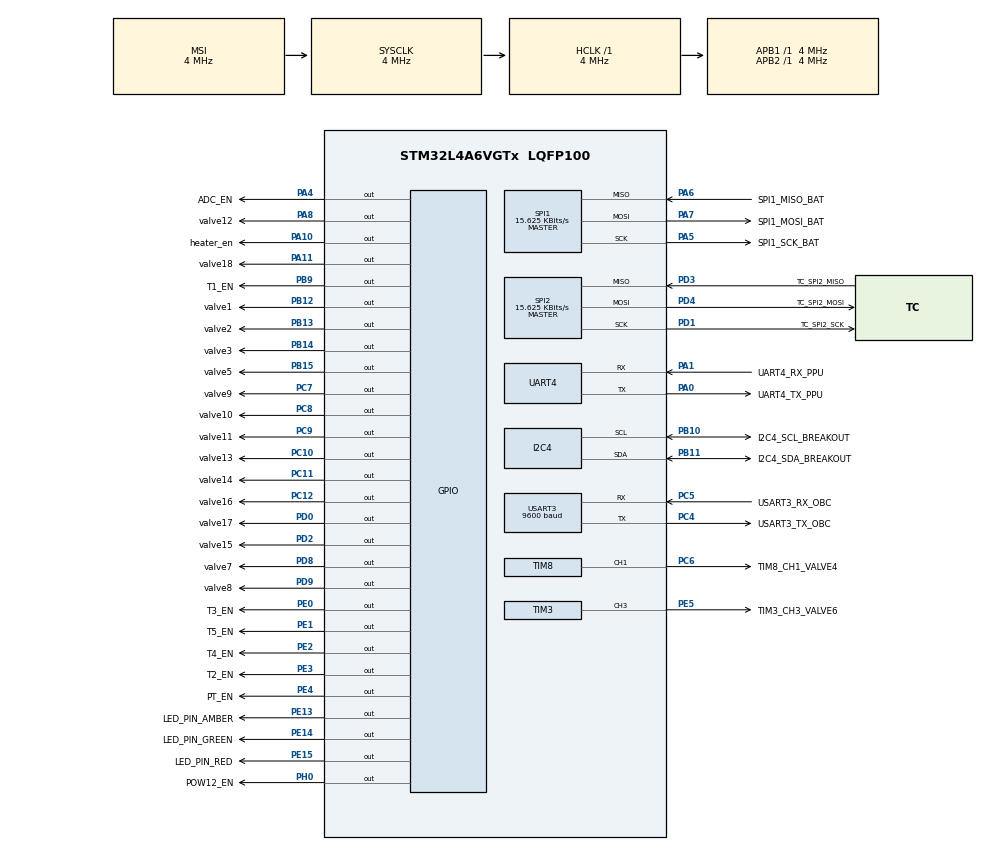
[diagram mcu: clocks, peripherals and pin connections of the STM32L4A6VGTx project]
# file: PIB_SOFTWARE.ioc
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I2C4.I2C_Fall_Time=100
I2C4.I2C_Rise_Time=100
I2C4.Speed=70
I2C4.Timing=0x00100D25
Mcu.Family=STM32L4
Mcu.Name=STM32L4A6VGTx
Mcu.Package=LQFP100
NVIC.PriorityGroup=NVIC_PRIORITYGROUP_4
NVIC.USART3_IRQn=true\:0\:0\:false\:false\:true\:true\:true\:true
PA0.GPIO_Label=UART4_TX_PPU
PA0.Mode=Asynchronous
PA0.Signal=UART4_TX
PA1.GPIO_Label=UART4_RX_PPU
PA1.Mode=Asynchronous
PA1.Signal=UART4_RX
PA10.GPIO_Label=heater_en
PA10.Signal=GPIO_Output
PA11.GPIO_Label=valve18
PA11.Signal=GPIO_Output
PA13\ (JTMS/SWDIO).Mode=Trace_Asynchronous_SW
PA13\ (JTMS/SWDIO).Signal=SYS_JTMS-SWDIO
PA14\ (JTCK/SWCLK).Mode=Trace_Asynchronous_SW
PA14\ (JTCK/SWCLK).Signal=SYS_JTCK-SWCLK
PA4.GPIO_Label=ADC_EN
PA4.Signal=GPIO_Output
PA5.GPIO_Label=SPI1_SCK_BAT
PA5.Mode=Full_Duplex_Master
PA5.Signal=SPI1_SCK
PA6.GPIO_Label=SPI1_MISO_BAT
PA6.Mode=Full_Duplex_Master
PA6.Signal=SPI1_MISO
PA7.GPIO_Label=SPI1_MOSI_BAT
PA7.Mode=Full_Duplex_Master
PA7.Signal=SPI1_MOSI
PA8.GPIO_Label=valve12
PA8.Signal=GPIO_Output
PB10.GPIO_Label=I2C4_SCL_BREAKOUT
PB10.Mode=I2C
PB10.Signal=I2C4_SCL
PB11.GPIO_Label=I2C4_SDA_BREAKOUT
PB11.Mode=I2C
PB11.Signal=I2C4_SDA
PB12.GPIO_Label=valve1
PB12.Signal=GPIO_Output
PB13.GPIO_Label=valve2
PB13.Signal=GPIO_Output
PB14.GPIO_Label=valve3
PB14.Signal=GPIO_Output
PB15.GPIO_Label=valve5
PB15.Signal=GPIO_Output
PB3\ (JTDO/TRACESWO).Mode=Trace_Asynchronous_SW
PB3\ (JTDO/TRACESWO).Signal=SYS_JTDO-SWO
PB9.GPIO_Label=T1_EN
PB9.Signal=GPIO_Output
PC10.GPIO_Label=valve13
PC10.Signal=GPIO_Output
PC11.GPIO_Label=valve14
PC11.Signal=GPIO_Output
PC12.GPIO_Label=valve16
PC12.Signal=GPIO_Output
PC4.GPIO_Label=USART3_TX_OBC
PC4.Mode=Asynchronous
PC4.Signal=USART3_TX
PC5.GPIO_Label=USART3_RX_OBC
PC5.Mode=Asynchronous
PC5.Signal=USART3_RX
PC6.GPIO_Label=TIM8_CH1_VALVE4
PC6.Signal=S_TIM8_CH1
PC7.GPIO_Label=valve9
PC7.Signal=GPIO_Output
PC8.GPIO_Label=valve10
PC8.Signal=GPIO_Output
PC9.GPIO_Label=valve11
PC9.Signal=GPIO_Output
PD0.GPIO_Label=valve17
PD0.Signal=GPIO_Output
PD1.GPIO_Label=TC_SPI2_SCK
PD1.Mode=Full_Duplex_Master
PD1.Signal=SPI2_SCK
PD2.GPIO_Label=valve15
PD2.Signal=GPIO_Output
PD3.GPIO_Label=TC_SPI2_MISO
PD3.Mode=Full_Duplex_Master
PD3.Signal=SPI2_MISO
PD4.GPIO_Label=TC_SPI2_MOSI
PD4.Mode=Full_Duplex_Master
PD4.Signal=SPI2_MOSI
PD8.GPIO_Label=valve7
PD8.Signal=GPIO_Output
PD9.GPIO_Label=valve8
PD9.Signal=GPIO_Output
PE0.GPIO_Label=T3_EN
PE0.Signal=GPIO_Output
PE1.GPIO_Label=T5_EN
PE1.Signal=GPIO_Output
PE13.GPIO_Label=LED_PIN_AMBER
PE13.Signal=GPIO_Output
PE14.GPIO_Label=LED_PIN_GREEN
PE14.Signal=GPIO_Output
PE15.GPIO_Label=LED_PIN_RED
PE15.Signal=GPIO_Output
PE2.GPIO_Label=T4_EN
PE2.Signal=GPIO_Output
PE3.GPIO_Label=T2_EN
PE3.Signal=GPIO_Output
PE4.GPIO_Label=PT_EN
PE4.Signal=GPIO_Output
PE5.GPIO_Label=TIM3_CH3_VALVE6
PE5.Signal=S_TIM3_CH3
PH0-OSC_IN\ (PH0).GPIO_Label=POW12_EN
PH0-OSC_IN\ (PH0).Signal=GPIO_Output
ProjectManager.HeapSize=0x200
ProjectManager.StackSize=0x400
ProjectManager.TargetToolchain=STM32CubeIDE
RCC.AHBFreq_Value=4000000
RCC.APB1Freq_Value=4000000
RCC.APB1TimFreq_Value=4000000
RCC.APB2Freq_Value=4000000
RCC.APB2TimFreq_Value=4000000
RCC.CortexFreq_Value=4000000
RCC.HCLKFreq_Value=4000000
RCC.HSE_VALUE=8000000
RCC.HSI48_VALUE=48000000
RCC.HSI_VALUE=16000000
RCC.LSE_VALUE=32768
RCC.MSI_VALUE=4000000
RCC.SYSCLKFreq_VALUE=4000000
RCC.VCOOutputFreq_Value=32000000
SH.S_TIM3_CH3.0=TIM3_CH3,PWM Generation3 CH3
SH.S_TIM8_CH1.0=TIM8_CH1,PWM Generation1 CH1
SPI1.BaudRatePrescaler=SPI_BAUDRATEPRESCALER_256
SPI1.CLKPhase=SPI_PHASE_2EDGE
SPI1.CLKPolarity=SPI_POLARITY_HIGH
SPI1.CalculateBaudRate=15.625 KBits/s
SPI1.DataSize=SPI_DATASIZE_8BIT
SPI1.Direction=SPI_DIRECTION_2LINES
SPI1.Mode=SPI_MODE_MASTER
SPI1.VirtualType=VM_MASTER
SPI2.BaudRatePrescaler=SPI_BAUDRATEPRESCALER_256
SPI2.CLKPhase=SPI_PHASE_2EDGE
SPI2.CLKPolarity=SPI_POLARITY_HIGH
SPI2.CalculateBaudRate=15.625 KBits/s
SPI2.DataSize=SPI_DATASIZE_8BIT
SPI2.Direction=SPI_DIRECTION_2LINES
SPI2.Mode=SPI_MODE_MASTER
SPI2.VirtualType=VM_MASTER
TIM3.Channel-PWM\ Generation3\ CH3=TIM_CHANNEL_3
TIM3.Period=400-1
TIM3.Prescaler=4-1
TIM8.AutoReloadPreload=TIM_AUTORELOAD_PRELOAD_ENABLE
TIM8.Channel-PWM\ Generation1\ CH1=TIM_CHANNEL_1
USART3.BaudRate=9600
USART3.VirtualMode-Asynchronous=VM_ASYNC
VP_TIM3_VS_ClockSourceINT.Mode=Internal
VP_TIM8_VS_ClockSourceINT.Mode=Internal
board=custom

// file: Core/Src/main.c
/* USER CODE BEGIN Header */
/**
  ******************************************************************************
  * @file           : main.c
  * @brief          : Main program body
  ******************************************************************************
  * @attention
  *
  * Copyright (c) 2026 STMicroelectronics.
  * All rights reserved.
  *
  * This software is licensed under terms that can be found in the LICENSE file
  * in the root directory of this software component.
  * If no LICENSE file comes with this software, it is provided AS-IS.
  *
  ******************************************************************************
  */
/* USER CODE END Header */
#include "main.h"
#include "i2c.h"
#include "spi.h"
#include "tim.h"
#include "usart.h"
#include "gpio.h"

/* USER CODE BEGIN Includes */

#include "gpio_driver.h"
#include "uart_handler.h"
#include "uart_protocol.h"

// ---------------- DEFINES ---------------------

//#define AD7124
//#define AD7124_P
//#define AD7124_V
//#define AD7124_SINGLE_MODE
//#define AD7124_CONTINOUS_MODE
#define FDC2214_S
//#define MAX31856
//#define MAX31856_T1
//#define MAX31856_T2
//#define MAX31856_T3
//#define MAX31856_T4
//#define MAX31856_T5
//#define B2B_ARDUINO
//#define VALVE_TEST
//#define I2C_SCANNER
//#define HEATER
//#define PWM_VALVE_6

//#define ADXL355
//#define AD7176

// ----------------- HARDWARE TESTS -----------------------

#ifdef AD7124

// Sensor Includes

#include "ad7124_console_app.h"
#include "ad7124.h"

#endif

#ifdef MAX31856

#include "max31856.h"

#endif

#ifdef FDC2214_S

#include "fdc2214.h"

#endif

#ifdef AD7177
// Sensor Includes
#include "ad7177.h"
#endif

// Serial Interface For Debugging || Serial wire JTAG debug port (SWJ-DP)
#include <stdio.h>

/* USER CODE END Includes */

/* USER CODE BEGIN PV */

uint8_t rx_cmd[1]; // single byte for all UART commands.
uint8_t tx_cmd[1];
char uart_buffer[64];
float value;
float value2;

/* USER CODE END PV */

void SystemClock_Config(void);

/* USER CODE BEGIN 0 */

// struct max31856_t *max31856;

/* USER CODE END 0 */

int main(void)
{

  /* MCU Configuration--------------------------------------------------------*/

  /* Reset of all peripherals, Initializes the Flash interface and the Systick. */
	HAL_Init();

  /* USER CODE BEGIN Init */

  // Device ID's

//   uint32_t device_id;

#ifdef B2B_ARDUINO
   // UART Inits
//   uint8_t rx_cmd[1]; // single byte for all UART commands.
//   uint8_t TX_Buffer[] = "Hello, World!\r\n";
   // "\r" move cursor to start of line
   // "\n" new line

#endif

  /* USER CODE END Init */

  /* Configure the system clock */
  SystemClock_Config();

  /* USER CODE BEGIN SysInit */

//  GPIO_Driver_Init(&LED_BLINK);

  /* USER CODE END SysInit */

  /* Initialize all configured peripherals */
  MX_GPIO_Init();
  MX_I2C4_Init();
  MX_SPI1_Init();
  MX_SPI2_Init();
  MX_UART4_Init();
  MX_USART3_UART_Init();
  MX_TIM8_Init();
  MX_TIM3_Init();
  /* USER CODE BEGIN 2 */

//  HAL_GPIO_WritePin(LED_PIN_RED_GPIO_Port, LED_PIN_RED_Pin, GPIO_PIN_SET);

  // blocking no work
//  HAL_UART_Receive(&huart3, rx_cmd, 1,0xFFFF);
//  HAL_UART_Transmit(&huart3, rx_cmd, 1, 0xFFFF);

  // start receiving UART commands.

  HAL_UART_Receive_IT(&huart3, rx_cmd, 1);

// DEACTIVATE ALL SPI2 ICs

// (NOT CS) So if a pin is pulled low the chip will be selected.

  // SPI 2 BUS
  HAL_GPIO_WritePin(T1_EN_GPIO_Port, T1_EN_Pin, GPIO_PIN_SET);
  HAL_GPIO_WritePin(T2_EN_GPIO_Port, T2_EN_Pin, GPIO_PIN_SET);
  HAL_GPIO_WritePin(T3_EN_GPIO_Port, T3_EN_Pin, GPIO_PIN_SET);
  HAL_GPIO_WritePin(T4_EN_GPIO_Port, T4_EN_Pin, GPIO_PIN_SET);
  HAL_GPIO_WritePin(T5_EN_GPIO_Port, T5_EN_Pin, GPIO_PIN_SET);
  HAL_GPIO_WritePin(PT_EN_GPIO_Port, PT_EN_Pin, GPIO_PIN_SET);

  // SPI 1 BUS

  HAL_GPIO_WritePin(ADC_EN_GPIO_Port, ADC_EN_Pin, GPIO_PIN_SET);

  HAL_GPIO_WritePin(POW12_EN_GPIO_Port, POW12_EN_Pin, GPIO_PIN_SET);

// External driver structures and buffers

// ADC7124 || PT Readings Init

#ifdef AD7124

/* Initialize the AD7124 application before the main loop */

  // this setup will be for POWER
  // added param for cs -> CS = 0 = AD7124 VOLTAGE      |
  				//       CS = 1 = AD7124 PRESSURE   | for measuring

  int32_t setupResult;
  uint32_t device_id;

  // setup pressure ADC

#ifdef AD7124_P

  if ((setupResult = ad7124_app_initialize(AD7124_CONFIG_A,PRESSURE)) < 0) {
		// Handle error setting up AD7124 here
	  printf("Failed to init ad7124 pressure \n");
	  HAL_GPIO_WritePin(LED_PIN_RED_GPIO_Port, LED_PIN_RED_Pin, GPIO_PIN_SET);
  }
  printf("Setup Pressure Result: %ld", setupResult);
//  HAL_GPIO_WritePin(LED_PIN_RED_GPIO_Port, LED_PIN_RED_Pin, GPIO_PIN_SET);

#endif

#ifdef AD7124_V

  if ((setupResult = ad7124_app_initialize(AD7124_CONFIG_A,VOLTAGE)) < 0) {
		// Handle error setting up AD7124 here
	  printf("Failed to init ad7124 voltage \n");
	  HAL_GPIO_WritePin(LED_PIN_RED_GPIO_Port, LED_PIN_RED_Pin, GPIO_PIN_SET);

  }

  printf("Setup voltage Result: %ld", setupResult);

#endif

//  float voltage1;
//  float voltage2;
//  uint32_t val;

#endif

#ifdef MAX31856

float temperature;

#endif

// MAX31856 Setup || Temperature Reading K-Type Thermocouples Readings INIT

// T1

#ifdef MAX31856_T1
   	max31856_gpio_t max31856T1PIN = {
   	    .gpio_port = T1_EN_GPIO_Port,
   	    .gpio_pin  = T1_EN_Pin
   	};

   	max31856_t max31856T1 = {
   			.spi_handle = &hspi2,
 			.cs_pin = max31856T1PIN

   	};

   	max31856_init(&max31856T1);

   	max31856_set_noise_filter(&max31856T1, CR0_FILTER_OUT_60Hz); // Noise filter is for filtering out EMI in very long wires
   	max31856_set_cold_junction_enable(&max31856T1, CR0_CJ_ENABLED); // External Sensor which measures the cold junction and references
   	max31856_set_thermocouple_type(&max31856T1, CR1_TC_TYPE_K); // K - type thermocouple
   	max31856_set_average_samples(&max31856T1, CR1_AVG_TC_SAMPLES_2);
   	max31856_set_open_circuit_fault_detection(&max31856T1, CR0_OC_DETECT_ENABLED_TC_LESS_2ms);
   	max31856_set_conversion_mode(&max31856T1, CR0_CJ_DISABLED); // need to disable for single we don't have access to the DRDY pins thus we have to estimate polling time.

#endif

//   	// T2

#ifdef MAX31856_T2

   	max31856_gpio_t max31856T2PIN = {
   			.gpio_port = T2_EN_GPIO_Port,
 			.gpio_pin  = T2_EN_Pin
   	  	};

   	max31856_t max31856T2 = {
   			.spi_handle = &hspi2,
   			.cs_pin = max31856T2PIN
   	};

 	max31856_init(&max31856T2);

   	max31856_set_noise_filter(&max31856T2, CR0_FILTER_OUT_60Hz);
   	max31856_set_cold_junction_enable(&max31856T2, CR0_CJ_ENABLED); // External Sensor which measures the cold junction and references
   	max31856_set_thermocouple_type(&max31856T2, CR1_TC_TYPE_K); // K - type thermocouple
   	max31856_set_average_samples(&max31856T2, CR1_AVG_TC_SAMPLES_2);
   	max31856_set_open_circuit_fault_detection(&max31856T2, CR0_OC_DETECT_ENABLED_TC_LESS_2ms);
   	max31856_set_conversion_mode(&max31856T2, CR0_CONV_CONTINUOUS); // continous mode for testing

   	// T3

#endif

#ifdef MAX31856_T3

   	max31856_gpio_t max31856T3PIN = {
   		.gpio_port = T3_EN_GPIO_Port,
 		.gpio_pin  = T3_EN_Pin
   	};

   	max31856_t max31856T3 = {
   			.spi_handle = &hspi2,
   			.cs_pin = max31856T3PIN
   	};

 	max31856_init(&max31856T3);

   	max31856_set_noise_filter(&max31856T3, CR0_FILTER_OUT_60Hz);
   	max31856_set_cold_junction_enable(&max31856T3, CR0_CJ_ENABLED);
   	max31856_set_thermocouple_type(&max31856T3, CR1_TC_TYPE_K);
   	max31856_set_average_samples(&max31856T3, CR1_AVG_TC_SAMPLES_2);
   	max31856_set_open_circuit_fault_detection(&max31856T3, CR0_OC_DETECT_ENABLED_TC_LESS_2ms);
   	max31856_set_conversion_mode(&max31856T3, CR0_CONV_CONTINUOUS);

#endif

#ifdef MAX31856_T4

   	// T4

   	max31856_gpio_t max31856T4PIN = {
   		.gpio_port = T4_EN_GPIO_Port,
 		.gpio_pin  = T4_EN_Pin
   	};

   	max31856_t max31856T4 = {
   			.spi_handle = &hspi2,
   			.cs_pin = max31856T4PIN
   	};

 	max31856_init(&max31856T4);

   	max31856_set_noise_filter(&max31856T4, CR0_FILTER_OUT_60Hz);
   	max31856_set_cold_junction_enable(&max31856T4, CR0_CJ_ENABLED);
   	max31856_set_thermocouple_type(&max31856T4, CR1_TC_TYPE_K);
   	max31856_set_average_samples(&max31856T4, CR1_AVG_TC_SAMPLES_2);
   	max31856_set_open_circuit_fault_detection(&max31856T4, CR0_OC_DETECT_ENABLED_TC_LESS_2ms);
   	max31856_set_conversion_mode(&max31856T4, CR0_CONV_CONTINUOUS);

#endif

//   	// T5

#ifdef MAX31856_T5

   	max31856_gpio_t max31856T5PIN = {
   		.gpio_port = T5_EN_GPIO_Port,
 		.gpio_pin = T5_EN_Pin
   	};

   	max31856_t max31856T5 = {
   			.spi_handle = &hspi2,
   			.cs_pin = max31856T5PIN
   	};

 	max31856_init(&max31856T5);

   	max31856_set_noise_filter(&max31856T5, CR0_FILTER_OUT_60Hz);
   	max31856_set_cold_junction_enable(&max31856T5, CR0_CJ_ENABLED);
   	max31856_set_thermocouple_type(&max31856T5, CR1_TC_TYPE_K);
   	max31856_set_average_samples(&max31856T5, CR1_AVG_TC_SAMPLES_2);
   	max31856_set_open_circuit_fault_detection(&max31856T5, CR0_OC_DETECT_ENABLED_TC_LESS_2ms);
   	max31856_set_conversion_mode(&max31856T5, CR0_CONV_CONTINUOUS);

#endif

//   	// FDC2214 SETUP

//   	// Reset Registers in Device.

#ifdef FDC2214_S
   	uint8_t ret;

   	ret = FDC2214_Begin();
   	if(ret != 0){
   		printf("Failed to communicate with FDCC2214");
   		reset_fdc2214();
   		printf("Try Again");
   		FDC2214_Begin();
   	}
   	else{
   	   	// set default FDC2214 configurations

   	   	FDC2214_configure_defaults();

   	   	// toggle channel
   	   	FDC2214_set_active_channel(FDC2214_CH0);

//   	   	FDC2214_set_active_channel(FDC2214_CH1);
   	   	FDC2214_setAutoscan(0); // false
   	   	FDC2214_wakeup();

   	}

#endif

#ifdef AD7177
 	AD7177_Handle plumeSensor1;

 	plumeSensor1.hspi = &hspi1;
 	plumeSensor1.cs_port  = PT_EN_GPIO_Port;
 	plumeSensor1.cs_pin   = PT_EN_Pin;

 	plumeSensor1.ain_pos  = AD7177_AIN1;
 	plumeSensor1.ain_neg  = AD7177_AIN0;

 	plumeSensor1.ref_sel = AD7177_REF_INTERNAL;
 	plumeSensor1.bipolar  = 1;
 	plumeSensor1.odr      = AD7177_ODR_1000;
	plumeSensor1.vref = 2.5f;

 	AD7177_Init(&plumeSensor1);

#endif

  /* USER CODE END 2 */

  /* Infinite loop */
  /* USER CODE BEGIN WHILE */
  while (1)
  {

	  HAL_GPIO_TogglePin(LED_PIN_AMBER_GPIO_Port, LED_PIN_AMBER_Pin);

	  HAL_Delay(200);
//
//	  HAL_GPIO_TogglePin(LED_PIN_GREEN_GPIO_Port, LED_PIN_GREEN_Pin);
//	  HAL_Delay(200);
//
//	  HAL_GPIO_TogglePin(LED_PIN_AMBER_GPIO_Port, LED_PIN_AMBER_Pin);
//
//	  printf("HELLO \n");

#ifdef B2B

//	  HAL_UART_Transmit(&huart3,TX_Buffer,sizeof(TX_Buffer),1000); // "Hello World!" // UART Direct Test

#endif

#ifdef VALVE_TEST

	  printf("Actuation of Valve 2 Starting... in 15 seconds \n");

	  HAL_Delay(5000);

	  HAL_Delay(5000);

	  printf("Actuation of Valve 2 Starting... in 10 seconds \n");

	  HAL_Delay(5000);

	  printf("Actuation of Valve 2 Starting... in 5 seconds \n");

	  HAL_Delay(5000);

	  HAL_GPIO_WritePin(valve2_GPIO_Port, valve2_Pin, GPIO_PIN_SET);

	  printf("Valve 2 Actuated \n");

	  HAL_Delay(2000);

	  HAL_GPIO_WritePin(valve2_GPIO_Port, valve2_Pin, GPIO_PIN_RESET);

	  printf("Valve 2 Closed \n");

#endif

#ifdef HEATER

	  printf("Heater starting in 5 seconds");
	  HAL_Delay(5000);

	  HAL_GPIO_WritePin(heater_en_GPIO_Port, heater_en_Pin, GPIO_PIN_SET);

	  printf("Heating for 10 seconds");
	  HAL_Delay(10000);

	  HAL_GPIO_WritePin(heater_en_GPIO_Port, heater_en_Pin, GPIO_PIN_RESET);

#endif

#ifdef AD7124_P

	  // read device id.

	  device_id = ad7124_read_device_id(PRESSURE);

	  printf("AD7124 Device PRESSURE ID: %ld ", device_id);
	  if(device_id == 20 || device_id == 23){ // device id for dataversion E || https://ez.analog.com/data_converters/precision_adcs/f/q-a/574494/ad7124-8-device-id-question

		  printf("|| SUCCESS \n");
		  HAL_GPIO_WritePin(LED_PIN_GREEN_GPIO_Port, LED_PIN_GREEN_Pin, GPIO_PIN_SET);
		  read_status_register(PRESSURE);

#ifdef AD7124_SINGLE_MODE
		  /* Read all enabled channels on ADC in single conversion mode */
//		  menu_single_conversion(PRESSURE);

		  value = display_channel_sample(6, PRESSURE);
		  printf("3V3 Reading: %f", value*4.125); // new way of comuting 3v3.

//		  for(int i =0 ; i<16; i++){
//		 			  value = display_channel_sample(i, PRESSURE);
//		 			  printf("Channel %d: Voltage: %f ",i , value);
//
//		 }

#endif
	  }
	  else{
		  // read error register;
		  read_error_register(PRESSURE);
		  // check status of chip
		  read_status_register(PRESSURE);

//		  HAL_GPIO_WritePin(LED_PIN_RED_GPIO_Port, LED_PIN_RED_Pin, GPIO_PIN_SET);

	  }

#endif

#ifdef AD7124_V

	  device_id = ad7124_read_device_id(VOLTAGE);

	  printf("AD7124 Device VOLTAGE ID: %ld ", device_id);
	  if(device_id == 23 || device_id == 20){ // device id for dataversion F || https://ez.analog.com/data_converters/precision_adcs/f/q-a/574494/ad7124-8-device-id-question

		  printf("|| SUCCESS \n");
		  HAL_GPIO_WritePin(LED_PIN_GREEN_GPIO_Port, LED_PIN_GREEN_Pin, GPIO_PIN_SET);
//		  read_status_register(VOLTAGE);
		  #ifdef AD7124_SINGLE_MODE
		  /* Read all enabled channels on ADC in single conversion mode */

//		  value = display_channel_sample(0, VOLTAGE);
//		  value2 = display_channel_sample(8, VOLTAGE);

//		  printf("3V3 Volt Channel: Voltage: %f " , value);

//		  menu_single_conversion(VOLTAGE);
//
//		  value = display_channel_sample(0, VOLTAGE);
//
////		  printf("12V Reading: %f", (610 / 510)*(12-value));
//
//		  printf("12v Reading: %f", 6*value); // new way of computing.

		  value = display_channel_sample(6, VOLTAGE);
		  printf("3V3 Reading: %f", value*4.125); // new way of comuting 3v3.

//		  printf("3V3 Reading: %f", (412.5/312.5)*(3.3-value));

//
//		  for(int i =0 ; i<16; i++){
//		 			  value = display_channel_sample(i, VOLTAGE);
//		 			  printf("Channel %d: Voltage: %f ",i , value);
//
//		 }

	      #endif
	 }

	 else{
		  // read error register;
		  read_error_register(VOLTAGE);
		  // check status of chip
		  read_status_register(VOLTAGE);

//		  HAL_GPIO_WritePin(LED_PIN_RED_GPIO_Port, LED_PIN_RED_Pin, GPIO_PIN_SET);

	  }

#endif

#ifdef AD7124_CONTINOUS_MODE

		 /* Continously Read all enabled channels on ADC for 10 iterations (change to desire / add functionality for commanding) */

		  // NOT YET CONFIGURED FOR TWO ICS
	    do_continuous_conversion(0);

#endif

#ifdef B2B_ARDUINO
//	  Serial_Print("Transmitting"); // Serial_Print custom function test.
//
//	   Serial_Printf("Temperature Test %d C\r\n", 100); // Serial_Print custom formatted print function

//	   TEST READS...

//	   Serial_Print("Test IC Reads"); // Serial_Print custom function test.

//	   For Repo Branch...

//	   polling method -> Blocks CPU until UART receive is done.
 	  // uart receive block will continously try to fetch.
 		  // Polling for Seperate Pressure Sensors.

//	  HAL_GPIO_TogglePin(LED_PIN_RED_GPIO_Port, LED_PIN_RED_Pin);
//	  HAL_Delay(500);
//
//
//	if(*rx_cmd == CMD_TOGGLE_LED_RED){
//		  HAL_GPIO_TogglePin(LED_PIN_RED_GPIO_Port, LED_PIN_RED_Pin);

//		  HAL_Delay(2000);

//	}

// testing
//	char uart_buffer[64];
//	uint32_t sensor_value = 42; // Replace with actual sensor reading
//
//	int len = snprintf(uart_buffer, sizeof(uart_buffer), "Sensor: %lu\r\n", sensor_value);
//
//	HAL_UART_Transmit(&huart3, (uint8_t *)uart_buffer, len, 100);
//	HAL_Delay(1000);

 	switch(rx_cmd[0]){

 		  // Read AD7124

// // Read PT Valves
 		case CMD_OPEN_SOL1:
 			HAL_GPIO_WritePin(valve1_GPIO_Port, valve1_Pin, GPIO_PIN_SET);

 		case CMD_OPEN_SOL2:
 			HAL_GPIO_WritePin(valve2_GPIO_Port, valve2_Pin, GPIO_PIN_SET);

 		case CMD_OPEN_SOL3:
 		 	HAL_GPIO_WritePin(valve3_GPIO_Port, valve3_Pin, GPIO_PIN_SET);

 		case CMD_OPEN_SOL4: // IEP VALVE (PWM)

 		 	HAL_GPIO_WritePin(TIM8_CH1_VALVE4_GPIO_Port, TIM8_CH1_VALVE4_Pin, GPIO_PIN_SET);

 		case CMD_OPEN_SOL5:
 		 	HAL_GPIO_WritePin(valve5_GPIO_Port, valve5_Pin, GPIO_PIN_SET);

 		case CMD_OPEN_SOL6: // IEP VALVE (PWM)
 		 	HAL_GPIO_WritePin(TIM__CH1_VALVE6_GPIO_Port, TIM__CH1_VALVE6_Pin, GPIO_PIN_SET);

 		case CMD_OPEN_SOL7:
 		    HAL_GPIO_WritePin(valve7_GPIO_Port, valve7_Pin, GPIO_PIN_SET);

 		case CMD_OPEN_SOL8:
 		 	HAL_GPIO_WritePin(valve8_GPIO_Port, valve8_Pin, GPIO_PIN_SET);

 		case CMD_OPEN_SOL9:
 		    HAL_GPIO_WritePin(valve9_GPIO_Port, valve9_Pin, GPIO_PIN_SET);

 		case CMD_OPEN_SOL10:
 		    HAL_GPIO_WritePin(valve10_GPIO_Port, valve10_Pin, GPIO_PIN_SET);

 		case CMD_OPEN_SOL11:
 		    HAL_GPIO_WritePin(valve11_GPIO_Port, valve11_Pin, GPIO_PIN_SET);

 		case CMD_OPEN_SOL12:
 		 	HAL_GPIO_WritePin(valve12_GPIO_Port, valve12_Pin, GPIO_PIN_SET);

 		case CMD_OPEN_SOL13:
 		    HAL_GPIO_WritePin(valve13_GPIO_Port, valve13_Pin, GPIO_PIN_SET);

 		case CMD_OPEN_SOL14:
 		    HAL_GPIO_WritePin(valve14_GPIO_Port, valve14_Pin, GPIO_PIN_SET);

 		case CMD_OPEN_SOL15:
 		 	HAL_GPIO_WritePin(valve15_GPIO_Port, valve15_Pin, GPIO_PIN_SET);

 		case CMD_OPEN_SOL16:
 		    HAL_GPIO_WritePin(valve16_GPIO_Port, valve16_Pin, GPIO_PIN_SET);

 		case CMD_OPEN_SOL17:
 		 	HAL_GPIO_WritePin(valve17_GPIO_Port, valve17_Pin, GPIO_PIN_SET);

 	    case CMD_TOGGLE_LED_RED:
 		    HAL_GPIO_TogglePin(LED_PIN_RED_GPIO_Port, LED_PIN_RED_Pin);
 			HAL_Delay(2000);

 	    case CMD_READ_TC1:
 		   temperature = max31856_read_CJ_temp(&max31856T1);

 		   // we may need to add if there's ever an error...

 		   int len = snprintf(uart_buffer, sizeof(uart_buffer), "Cold Junction Temperature Reading TC1: %f\r\n", temperature);
 	 	   HAL_UART_Transmit(&huart3, (uint8_t *)uart_buffer, len, 100);

 		rx_cmd[0]=0;

 		break;
 	}

#endif
#ifdef ARDUNIO
 			case CMD_READ_PT1:
 				value = display_channel_sample(CH_READ_PT0);
 				// will need to convert the voltage value to a current / temp reading function eventually in ad7124.h
 				Serial_Printf("Pressure Reading PT 1: %d \r\n", value);
 			case CMD_READ_PT2:
 				value = display_channel_sample(CH_READ_PT1);
 				Serial_Printf("Pressure Reading PT 2: %d \r\n", value);
 			case CMD_READ_PT3:
 				value = display_channel_sample(CH_READ_PT2);
 				Serial_Printf("Pressure Reading PT 3: %d \r\n", value);
 			case CMD_READ_PT4:
 				value = display_channel_sample(CH_READ_PT3);
 				Serial_Printf("Pressure Reading PT 4: %d \r\n", value);
 			case CMD_READ_PT5:
 				value = display_channel_sample(CH_READ_PT4);
 				Serial_Printf("Pressure Reading PT 5: %d \r\n", value);
 			case CMD_READ_PT6:
 				value = display_channel_sample(CH_READ_PT5);
 				Serial_Printf("Pressure Reading PT 6: %d \r\n", value);
 			case CMD_READ_PT7:
 				value = display_channel_sample(CH_READ_PT6);
 				Serial_Printf("Pressure Reading PT 7: %d \r\n", value);
 			case CMD_READ_PT8:
 				value = display_channel_sample(CH_READ_PT7);
 				Serial_Printf("Pressure Reading PT 8: %d \r\n", value);

// // Read TC Valves
 			case CMD_READ_TC1:

 				max31856_trigger_one_shot(&max31856T1);
 				HAL_Delay(200); // Wait until single is ready
 				temp = max31856_read_TC_temp(&max31856T1); // compensates already for cold junction reading
 				max31856_read_fault(&max31856T1);
 				  	if (max31856T1.sr.val) {
 				  	  Serial_Print("TC1 Read Fail");
 				  	}
 				Serial_Printf("Temperature Reading TC1: %f \r\n", temp);

 			case CMD_READ_TC2:
 				temp = max31856_read_TC_temp(&max31856T2);
 				max31856_read_fault(&max31856T2);
 				if (max31856T2.sr.val) {
 					Serial_Print("TC2 Read Fail");
 				}
 				Serial_Printf("Temperature Reading TC2: %f \r\n", temp);

 			case CMD_READ_TC3:
 				temp = max31856_read_TC_temp(&max31856T3);
 				max31856_read_fault(&max31856T3);
 				if (max31856T3.sr.val) {
 					Serial_Print("TC3 Read Fail");
 			    }
 				Serial_Printf("Temperature Reading TC3: %f \r\n", temp);

 			case CMD_READ_TC4:
 				temp = max31856_read_TC_temp(&max31856T4);
 				max31856_read_fault(&max31856T4);
 				if (max31856T4.sr.val) {
 					Serial_Print("TC4 Read Fail");
 			    }
 				Serial_Printf("Temperature Reading TC4: %f \r\n", temp);

 			case CMD_READ_TC5:
 				temp = max31856_read_TC_temp(&max31856T5);
 				max31856_read_fault(&max31856T5);
 				if (max31856T5.sr.val) {
 					Serial_Print("TC5 Read Fail");
 			    }
 				Serial_Printf("Temperature Reading TC5: %f \r\n", temp);

// // Read PC104 Voltages

// 			case CMD_READ_12VA_VB:
// 				value = ad7124_read_channel_voltage(ad7124_pc104, CH_READ_12VA_VB);
// 				Serial_Printf("PC104 Voltage Reading 12VA_VB: %d \r\n", value);
// 			case CMD_READ_12VA_VA:
// 				value = ad7124_read_channel_voltage(ad7124_pc104, CH_READ_12VA_VA);
// 				Serial_Printf("PC104 Voltage Reading 12VA_VA: %d \r\n", value);
// 			case CMD_READ_3V3_VB:
// 				value = ad7124_read_channel_voltage(ad7124_pc104, CH_READ_3V3_VB);
// 				Serial_Printf("PC104 Voltage Reading 3V3_VB: %d \r\n", value);
// 			case CMD_READ_3V3_VA:
// 				value = ad7124_read_channel_voltage(ad7124_pc104, CH_READ_3V3_VA);
// 				Serial_Printf("PC104 Voltage Reading 3V3_VA: %d \r\n", value);
//
// 			case CMD_READ_VBAT_VA:
// 				value = ad7124_read_channel_voltage(ad7124_pc104, CH_READ_VBAT_VA);
// 				Serial_Printf("PC104 Voltage Reading VBAT_VA: %d \r\n", value);
// 			case CMD_READ_VBAT_VB:
// 				value = ad7124_read_channel_voltage(ad7124_pc104, CH_READ_VBAT_VB);
// 				Serial_Printf("PC104 Voltage Reading VBAT_VB: %d \r\n", value);
//
// 			case CMD_READ_12VB_VA:
// 				value = ad7124_read_channel_voltage(ad7124_pc104, CH_READ_12VB_VA);
// 				Serial_Printf("PC104 Voltage Reading 12VB_VA: %d \r\n", value);
//
// 			case CMD_READ_12VB_VB:
// 				value = ad7124_read_channel_voltage(ad7124_pc104, CH_READ_12VB_VB);
// 				Serial_Printf("PC104 Voltage Reading 12VB_VB: %d \r\n", value);
//
//// // Read PC104 Currents
// 			case CMD_READ_12VA_VB_CURRENT:
// 				value = ad7124_read_channel_current_pc104(ad7124_pc104, CH_READ_12VA_VB);
// 				Serial_Printf("PC104 Current Reading 12VA_VB: %d \r\n", value);
//
// 			case CMD_READ_12VA_VA_CURRENT:
// 				value = ad7124_read_channel_current_pc104(ad7124_pc104, CH_READ_12VA_VA);
// 				Serial_Printf("PC104 Current Reading 12VA_VA: %d \r\n", value);
//
// 			case CMD_READ_3V3_VB_CURRENT:
// 				value = ad7124_read_channel_current_pc104(ad7124_pc104, CH_READ_3V3_VB);
// 				Serial_Printf("PC104 Current Reading 3V3_VB : %d \r\n", value);
//
// 			case CMD_READ_3V3_VA_CURRENT:
// 				value = ad7124_read_channel_current_pc104(ad7124_pc104, CH_READ_3V3_VA);
// 				Serial_Printf("PC104 Current Reading 3V3_VA : %d \r\n", value);
//
// 			case CMD_READ_VBAT_VA_CURRENT:
// 				value = ad7124_read_channel_current_pc104(ad7124_pc104, CH_READ_VBAT_VA);
// 				Serial_Printf("PC104 Current Reading VBAT_VA : %d \r\n", value);
//
// 			case CMD_READ_VBAT_VB_CURRENT:
// 				value = ad7124_read_channel_current_pc104(ad7124_pc104, CH_READ_VBAT_VB);
// 				Serial_Printf("PC104 Current Reading VBAT_VB : %d \r\n", value);
//
// 			case CMD_READ_12VB_VA_CURRENT:
// 				value = ad7124_read_channel_current_pc104(ad7124_pc104, CH_READ_12VB_VA);
// 				Serial_Printf("PC104 Current Reading 12VB_VA: %d \r\n",  value);
//
// 			case CMD_READ_12VB_VB_CURRENT:
// 				value = ad7124_read_channel_current_pc104(ad7124_pc104, CH_READ_12VB_VB);
// 				Serial_Printf("PC104 Current Reading 12VB_VB: %d \r\n", value);

// // Open Solenoids (ON/OFF)

 			case CMD_OPEN_SOL1:
 				HAL_GPIO_WritePin(valve1_GPIO_Port, valve1_Pin, GPIO_PIN_SET);

 			case CMD_OPEN_SOL2:
 				HAL_GPIO_WritePin(valve2_GPIO_Port, valve2_Pin, GPIO_PIN_SET);

 			case CMD_OPEN_SOL3:
 				HAL_GPIO_WritePin(valve3_GPIO_Port, valve3_Pin, GPIO_PIN_SET);

 			case CMD_OPEN_SOL4: // IEP VALVE (PWM)
 				HAL_GPIO_WritePin(TIM8_CH1_VALVE4_GPIO_Port, TIM8_CH1_VALVE4_Pin, GPIO_PIN_SET);

 			case CMD_OPEN_SOL5:
 				HAL_GPIO_WritePin(valve5_GPIO_Port, valve5_Pin, GPIO_PIN_SET);

 			case CMD_OPEN_SOL6: // IEP VALVE (PWM)
 				HAL_GPIO_WritePin(TIM__CH1_VALVE6_GPIO_Port, TIM__CH1_VALVE6_Pin, GPIO_PIN_SET);

 			case CMD_OPEN_SOL7:
 				HAL_GPIO_WritePin(valve7_GPIO_Port, valve7_Pin, GPIO_PIN_SET);

 			case CMD_OPEN_SOL8:
 				HAL_GPIO_WritePin(valve8_GPIO_Port, valve8_Pin, GPIO_PIN_SET);

 			case CMD_OPEN_SOL9:
 				HAL_GPIO_WritePin(valve9_GPIO_Port, valve9_Pin, GPIO_PIN_SET);

 			case CMD_OPEN_SOL10:
 				HAL_GPIO_WritePin(valve10_GPIO_Port, valve10_Pin, GPIO_PIN_SET);

 			case CMD_OPEN_SOL11:
 				HAL_GPIO_WritePin(valve11_GPIO_Port, valve11_Pin, GPIO_PIN_SET);

 			case CMD_OPEN_SOL12:
 				HAL_GPIO_WritePin(valve12_GPIO_Port, valve12_Pin, GPIO_PIN_SET);

 			case CMD_OPEN_SOL13:
 				HAL_GPIO_WritePin(valve13_GPIO_Port, valve13_Pin, GPIO_PIN_SET);

 			case CMD_OPEN_SOL14:
 				HAL_GPIO_WritePin(valve14_GPIO_Port, valve14_Pin, GPIO_PIN_SET);

 			case CMD_OPEN_SOL15:
 				HAL_GPIO_WritePin(valve15_GPIO_Port, valve15_Pin, GPIO_PIN_SET);

 			case CMD_OPEN_SOL16:
 				HAL_GPIO_WritePin(valve16_GPIO_Port, valve16_Pin, GPIO_PIN_SET);

 			case CMD_OPEN_SOL17:
 				HAL_GPIO_WritePin(valve17_GPIO_Port, valve17_Pin, GPIO_PIN_SET);

// // Close Valves

 			case CMD_CLOSE_SOL1:
 				HAL_GPIO_WritePin(valve1_GPIO_Port, valve1_Pin, GPIO_PIN_RESET);

 			case CMD_CLOSE_SOL2:
 				HAL_GPIO_WritePin(valve2_GPIO_Port, valve2_Pin, GPIO_PIN_RESET);

 			case CMD_CLOSE_SOL3:
 				HAL_GPIO_WritePin(valve3_GPIO_Port, valve3_Pin, GPIO_PIN_RESET);

 			case CMD_CLOSE_SOL4: // IEP VALVE 4
 				HAL_GPIO_WritePin(TIM8_CH1_VALVE4_GPIO_Port, TIM8_CH1_VALVE4_Pin, GPIO_PIN_RESET);

 			case CMD_CLOSE_SOL5:
 				HAL_GPIO_WritePin(valve5_GPIO_Port, valve5_Pin, GPIO_PIN_RESET);

 			case CMD_CLOSE_SOL6: // IEP VALVE 6
 				HAL_GPIO_WritePin(TIM__CH1_VALVE6_GPIO_Port, TIM__CH1_VALVE6_Pin, GPIO_PIN_RESET);

 			case CMD_CLOSE_SOL7:
 				HAL_GPIO_WritePin(valve7_GPIO_Port, valve7_Pin, GPIO_PIN_RESET);

 			case CMD_CLOSE_SOL8:
 				HAL_GPIO_WritePin(valve8_GPIO_Port, valve8_Pin, GPIO_PIN_RESET);

 			case CMD_CLOSE_SOL9:
 				HAL_GPIO_WritePin(valve9_GPIO_Port, valve9_Pin, GPIO_PIN_RESET);

 			case CMD_CLOSE_SOL10:
 				HAL_GPIO_WritePin(valve10_GPIO_Port, valve10_Pin, GPIO_PIN_RESET);

 			case CMD_CLOSE_SOL11:
 				HAL_GPIO_WritePin(valve11_GPIO_Port, valve11_Pin, GPIO_PIN_RESET);

 			case CMD_CLOSE_SOL12:
 				HAL_GPIO_WritePin(valve12_GPIO_Port, valve12_Pin, GPIO_PIN_RESET);

 			case CMD_CLOSE_SOL13:
 				HAL_GPIO_WritePin(valve13_GPIO_Port, valve13_Pin, GPIO_PIN_RESET);

 			case CMD_CLOSE_SOL14:
 				HAL_GPIO_WritePin(valve14_GPIO_Port, valve14_Pin, GPIO_PIN_RESET);

 			case CMD_CLOSE_SOL15:
 				HAL_GPIO_WritePin(valve15_GPIO_Port, valve15_Pin, GPIO_PIN_RESET);

 			case CMD_CLOSE_SOL16:
 				HAL_GPIO_WritePin(valve16_GPIO_Port, valve16_Pin, GPIO_PIN_RESET);

 			case CMD_CLOSE_SOL17:
 				HAL_GPIO_WritePin(valve17_GPIO_Port, valve17_Pin, GPIO_PIN_RESET);

// // READ FDC2214 Capacitance Measurements.

 			case READ_CAPACITANCE_A1:
 				capacitance = FDC2214_read_differential_capacitance(1);
 				Serial_Printf("Differential Capacitance Reading FDC2214 A1: %f \r\n", capacitance);
 			case READ_CAPACITANCE_A2:
 				capacitance = FDC2214_read_differential_capacitance(2);
 				Serial_Printf("Differential Capacitance Reading FDC2214 A2: %f \r\n", capacitance);
 			case READ_CATALYST_LEVEL_A1:
 				level = FDC2214_read_accumulator_height(1);
 				Serial_Printf("Catalyst Height Reading FDC2214 A1: %d \r\n", level);
 			case READ_CATALYST_LEVEL_A2:
 				level = FDC2214_read_accumulator_height(2);
 				Serial_Printf("Catalyst Height Reading FDC2214 A2: %d \r\n", level);

 		}
 	  }

#endif

HAL_Delay(1000);

#ifdef MAX31856_T1

	   max31856_trigger_one_shot(&max31856T1);
	   HAL_Delay(200); // Wait until single is ready
	   temperature = max31856_read_CJ_temp(&max31856T1);
	   max31856_read_fault(&max31856T1);
	   if (max31856T1.sr.val) {
	   		printf("TC Read Fail ");
	   		printf("ERROR TC1 #: %d ",max31856T1.sr.val);

	   }
	   printf("Cold Junction Temperature Reading TC1: %f \r\n", temperature);

	   temperature = max31856_read_TC_temp(&max31856T1); // compensates already for cold junction reading
	   if (max31856T1.sr.val) {
	   	   	printf("TC TEMP Read Fail ");
	   	   	printf("ERROR TC1 #: %d ",max31856T1.sr.val);
	   	   	print_errors(max31856T1.sr.val); // test functionality of error discerning

	   }
	   printf("Temperature Reading TC1: %f \r\n", temperature);

#endif

#ifdef MAX31856_T2

	   temperature = max31856_read_CJ_temp(&max31856T2);
	   max31856_read_fault(&max31856T2);
	   if (max31856T2.sr.val) {
	   		printf("TC Read Fail ");
	   		printf("ERROR TC2 #: %d ",max31856T2.sr.val);

	   }
	   printf("Cold Junction Temperature Reading TC2: %f \r\n", temperature);

	   temperature = max31856_read_TC_temp(&max31856T2); // compensates already for cold junction reading
	   if (max31856T2.sr.val) {
	   	   	printf("TC TEMP Read Fail ");
	   	   	printf("ERROR TC2 #: %d ",max31856T2.sr.val);
	   	   	print_errors(max31856T2.sr.val); // test functionality of error discerning

	   }
	   printf("Temperature Reading TC2: %f \r\n", temperature);

#endif

//	   temperature = max31856_read_TC_temp(&max31856T1);
//	   printf("%f Temperature Considered", temperature);   // compensates already for cold junction reading
//	   if(temperature<130){
//		    printf("ON \n");
//			HAL_GPIO_WritePin(heater_en_GPIO_Port, heater_en_Pin, GPIO_PIN_SET);
//			HAL_GPIO_WritePin(LED_PIN_RED_GPIO_Port, LED_PIN_RED_Pin, GPIO_PIN_SET);
//	   }
//	   else if(temperature>135){
//		    printf("OFF \n");
//		    HAL_GPIO_WritePin(heater_en_GPIO_Port, heater_en_Pin, GPIO_PIN_RESET);
//			HAL_GPIO_WritePin(LED_PIN_RED_GPIO_Port, LED_PIN_RED_Pin, GPIO_PIN_RESET);
//	   }
//	   else{
//	   }

	    //	HAL_Delay(18000000); // wait 3 minutes.

		  // 130 - 135

		// while(!acquired){
		// 	//  need to select correct TC before testing.
		// 	temp = max31856_read_TC_temp(&max31856T4);
		// 	max31856_read_fault(&max31856T4);
		// 	if (max31856T4.sr.val) {
		// 		return -1;
		// 	}

		// 	if(temp > THRESHOLD_TEMP){ // need to set correct threshold temperature value based on the readings we are getting.
		// 		acquired = true;
		// 	}

		// }

		// HAL_GPIO_WritePin(heater_en_GPIO_Port, heater_en_Pin, GPIO_PIN_RESET);

#ifdef MAX31856_T3

	   temperature = max31856_read_CJ_temp(&max31856T3);
	   max31856_read_fault(&max31856T3);
	   if (max31856T3.sr.val) {
	   		printf("TC Read Fail ");
	   		printf("ERROR TC3 #: %d ",max31856T3.sr.val);

	   }
	   printf("Cold Junction Temperature Reading TC3: %f \r\n", temperature);

	   temperature = max31856_read_TC_temp(&max31856T3); // compensates already for cold junction reading
	   if (max31856T3.sr.val) {
	   	   	printf("TC TEMP Read Fail ");
	   	   	printf("ERROR TC3 #: %d ",max31856T3.sr.val);
	   	   	print_errors(max31856T3.sr.val); // test functionality of error discerning

	   }
	   printf("Temperature Reading TC3: %f \r\n", temperature);
#endif

#ifdef MAX31856_T4

	   temperature = max31856_read_CJ_temp(&max31856T4);
	   max31856_read_fault(&max31856T4);
	   if (max31856T4.sr.val) {
	   		printf("TC Read Fail ");
	   		printf("ERROR TC4 #: %d ",max31856T4.sr.val);

	   }
	   printf("Cold Junction Temperature Reading TC4: %f \r\n", temperature);

	   temperature = max31856_read_TC_temp(&max31856T4); // compensates already for cold junction reading
	   if (max31856T4.sr.val) {
	   	   	printf("TC TEMP Read Fail ");
	   	   	printf("ERROR TC4 #: %d ",max31856T4.sr.val);
	   	   	print_errors(max31856T4.sr.val); // test functionality of error discerning

	   }
	   printf("Temperature Reading TC4: %f \r\n", temperature);

#endif

#ifdef MAX31856_T5

	   temperature = max31856_read_CJ_temp(&max31856T5);
	   max31856_read_fault(&max31856T5);
	   if (max31856T5.sr.val) {
	   		printf("TC Read Fail ");
	   		printf("ERROR TC5 #: %d ",max31856T5.sr.val);

	   }
	   printf("Cold Junction Temperature Reading TC5: %f \r\n", temperature);

	   temperature = max31856_read_TC_temp(&max31856T5); // compensates already for cold junction reading
	   if (max31856T5.sr.val) {
	   	   	printf("TC TEMP Read Fail ");
	   	   	printf("ERROR TC5 #: %d ",max31856T5.sr.val);
	   	   	print_errors(max31856T5.sr.val); // test functionality of error discerning

	   }
	   printf("Temperature Reading TC5: %f \r\n", temperature);

#endif

// 	  // TESTING DEBUG PURPOSES w/ ST-LINK
//

#ifdef FDC2214
 	  printf("TESTING DEBUG PURPOSES LOADING... \n");

 	  printf("Reading Device ID's... \n");

 	  if(isConnected()==0){
 		  printf("FDC NOMINAL \n");

 		 // READ DATA FROM CH0
 		 for(int i =0; i<2; i++){
 			FDC2214_set_active_channel(FDC2214_CH0+i);
 			if(FDC2214_is_data_ready(FDC2214_CH0+i)){
 				printf("Channel %d", i);
 			 	float f_hz = FDC2214_readFrequencyHz(FDC2214_CH0+i);
 			 	float c_pf = FDC2214_readCapacitancePf(FDC2214_CH0+i, FDC2214_L_HENRY);

 			 	printf("hertz %f", f_hz);
 			 	printf("Capacitance (pF): %f Channel: %d", c_pf, i);

 			}

 		 }
 	  }
 	  else{
		reset_fdc2214();
 		if(FDC2214_Begin()==0){

 		  	// set default FDC2214 configurations
 		   	FDC2214_configure_defaults();

 		   	   	// toggle channel

 		   	FDC2214_set_active_channel(FDC2214_CH0);
// 		   	FDC2214_set_active_channel(FDC2214_CH1);

 		   	FDC2214_setAutoscan(0); // false
 		   	FDC2214_wakeup();

 	 		printf("FDC Restart \n");

 		}

 	  }

#endif

#ifdef AD7177

// 	typedef struct{
// 		SPI_HandleTypeDef *hspi;
// 		GPIO_TypeDef	  *cs_port;
// 		uint16_t	   cs_pin;
//
// 		AD7176_Input	   ain_pos;
// 		AD7176_Input	   ain_neg;
// 		AD7176_RefSel	   ref_sel;
// 		uint8_t		   bipolar; // 1 = bipolar, 0 = unipolar
// 		uint8_t		   odr;	    // AD7176_ODR_xxx
// 		float		   vref;    // reference voltage in volts
// 	} AD7176_Handle;

// spi1 controls both plume measurement

 	uint32_t adc_output = 0;

 	AD7177_ReadSingle(&plumeSensor1, &adc_output, 1000);

 	printf("Voltage: %f \n", AD7177_CodeToVolts(&plumeSensor1, adc_output));

 	AD7177_Reset(&plumeSensor1);

#endif

#ifdef PWM_VALVE_6

 	 HAL_TIM_PWM_Start(&htim3, TIM_CHANNEL_3);

 	 // see duty cycle and if does not look good uncomment the bottom code. This is for testing.

// 	  // change duty cycle to 50 %
// 	 int duty = 50
// 	 __HAL_TIM_SET_COMPARE(&htim1, TIM_CHANNEL_1, duty);  // TIM1->CCR1 = duty;
// 	  HAL_Delay(500);  // Wait 500ms before changing duty cycle
//

#endif

//
//// 	  // MAX31856 Error Reading
//
//
//// 	  printf("Reading PC104 Voltages...");
//
// 	  value = ad7124_read_channel_voltage(ad7124_pc104, CH_READ_12VA_VB);
// 	  printf("PC104 Voltage Reading 12VA_VB: %d \r\n", (int)value);
// 	  value = ad7124_read_channel_voltage(ad7124_pc104, CH_READ_12VA_VA);
// 	  printf("PC104 Voltage Reading 12VA_VA: %d \r\n", (int)value);
// 	  value = ad7124_read_channel_voltage(ad7124_pc104, CH_READ_3V3_VB);
// 	  printf("PC104 Voltage Reading 3V3_VB: %d \r\n", (int)value);
// 	  value = ad7124_read_channel_voltage(ad7124_pc104, CH_READ_3V3_VA);
// 	  printf("PC104 Voltage Reading 3V3_VA: %d \r\n", (int)value);
// 	  value = ad7124_read_channel_voltage(ad7124_pc104, CH_READ_VBAT_VA);
// 	  printf("PC104 Voltage Reading VBAT_VA: %d \r\n", (int)value);
// 	  value = ad7124_read_channel_voltage(ad7124_pc104, CH_READ_VBAT_VB);
// 	  printf("PC104 Voltage Reading VBAT_VB: %d \r\n", (int)value);
// 	  value = ad7124_read_channel_voltage(ad7124_pc104, CH_READ_12VB_VA);
// 	  printf("PC104 Voltage Reading 12VB_VA: %d \r\n", (int)value);
// 	  value = ad7124_read_channel_voltage(ad7124_pc104, CH_READ_12VB_VB);
// 	  printf("PC104 Voltage Reading 12VB_VB: %d \r\n", (int)value);

// 	  printf("Reading PC104 Currents...");

// 	  value = ad7124_read_channel_current_pc104(ad7124_pc104, CH_READ_12VA_VB);
// 	  printf("PC104 Current Reading 12VA_VB: %d \r\n", (int)value);
// 	  value = ad7124_read_channel_current_pc104(ad7124_pc104, CH_READ_12VA_VA);
// 	  printf("PC104 Current Reading 12VA_VA: %d \r\n", (int)value);
// 	  value = ad7124_read_channel_current_pc104(ad7124_pc104, CH_READ_3V3_VB);
// 	  printf("PC104 Current Reading 3V3_VB : %d \r\n", (int)value);
// 	  value = ad7124_read_channel_current_pc104(ad7124_pc104, CH_READ_3V3_VA);
// 	  printf("PC104 Current Reading 3V3_VA : %d \r\n", (int)value);
// 	  value = ad7124_read_channel_current_pc104(ad7124_pc104, CH_READ_VBAT_VA);
// 	  printf("PC104 Current Reading VBAT_VA : %d \r\n", (int)value);
// 	  value = ad7124_read_channel_current_pc104(ad7124_pc104, CH_READ_VBAT_VB);
// 	  printf("PC104 Current Reading VBAT_VB : %d \r\n", (int)value);
// 	  value = ad7124_read_channel_current_pc104(ad7124_pc104, CH_READ_12VB_VA);
// 	  printf("PC104 Current Reading 12VB_VA: %d \r\n", (int)value);
// 	  value = ad7124_read_channel_current_pc104(ad7124_pc104, CH_READ_12VB_VB);
// 	  printf("PC104 Current Reading 12VB_VB: %d \r\n", (int)value);

// 	  printf("Reading Pressure Voltage Readings... \n");

// 	  value = ad7124_read_channel_voltage(ad7124, CH_READ_PT0);
// 	  printf("Pressure Reading PT 1: %d \r\n", (int)value);
// 	  value = ad7124_read_channel_voltage(ad7124, CH_READ_PT1);
// 	  printf("Pressure Reading PT 2: %d \r\n", (int)value);
// 	  value = ad7124_read_channel_voltage(ad7124, CH_READ_PT2);
// 	  printf("Pressure Reading PT 3: %d \r\n", (int)value);
// 	  value = ad7124_read_channel_voltage(ad7124, CH_READ_PT3);
// 	  printf("Pressure Reading PT 4: %d \r\n", (int)value);
// 	  value = ad7124_read_channel_voltage(ad7124, CH_READ_PT4);
// 	  printf("Pressure Reading PT 5: %d \r\n", (int)value);
// 	  value = ad7124_read_channel_voltage(ad7124, CH_READ_PT5);
// 	  printf("Pressure Reading PT 6: %d \r\n", (int)value);
// 	  value = ad7124_read_channel_voltage(ad7124, CH_READ_PT6);
// 	  printf("Pressure Reading PT 7: %d \r\n", (int)value);
// 	  value = ad7124_read_channel_voltage(ad7124, CH_READ_PT7);
// 	  printf("Pressure Reading PT 8: %d \r\n", (int)value);

// 	  printf("Reading Temperature Voltage Readings... \n");

    /* USER CODE END WHILE */

  }
}

void SystemClock_Config(void)
{
  RCC_OscInitTypeDef RCC_OscInitStruct = {0};
  RCC_ClkInitTypeDef RCC_ClkInitStruct = {0};

  /** Configure the main internal regulator output voltage
  */
  if (HAL_PWREx_ControlVoltageScaling(PWR_REGULATOR_VOLTAGE_SCALE1) != HAL_OK)
  {
    Error_Handler();
  }

  /** Initializes the RCC Oscillators according to the specified parameters
  * in the RCC_OscInitTypeDef structure.
  */
  RCC_OscInitStruct.OscillatorType = RCC_OSCILLATORTYPE_MSI;
  RCC_OscInitStruct.MSIState = RCC_MSI_ON;
  RCC_OscInitStruct.MSICalibrationValue = 0;
  RCC_OscInitStruct.MSIClockRange = RCC_MSIRANGE_6;
  RCC_OscInitStruct.PLL.PLLState = RCC_PLL_NONE;
  if (HAL_RCC_OscConfig(&RCC_OscInitStruct) != HAL_OK)
  {
    Error_Handler();
  }

  /** Initializes the CPU, AHB and APB buses clocks
  */
  RCC_ClkInitStruct.ClockType = RCC_CLOCKTYPE_HCLK|RCC_CLOCKTYPE_SYSCLK
                              |RCC_CLOCKTYPE_PCLK1|RCC_CLOCKTYPE_PCLK2;
  RCC_ClkInitStruct.SYSCLKSource = RCC_SYSCLKSOURCE_MSI;
  RCC_ClkInitStruct.AHBCLKDivider = RCC_SYSCLK_DIV1;
  RCC_ClkInitStruct.APB1CLKDivider = RCC_HCLK_DIV1;
  RCC_ClkInitStruct.APB2CLKDivider = RCC_HCLK_DIV1;

  if (HAL_RCC_ClockConfig(&RCC_ClkInitStruct, FLASH_LATENCY_0) != HAL_OK)
  {
    Error_Handler();
  }
}

/* USER CODE BEGIN 4 */

/* USER CODE BEGIN 4 */
void HAL_UART_RxCpltCallback(UART_HandleTypeDef *huart) {
	HAL_UART_Receive_IT(&huart3, rx_cmd, 1);
	printf("Value %d \r\n", rx_cmd[0]);

}
/* USER CODE END 4 */

void Error_Handler(void)
{
  __disable_irq();
  while (1)
  {
  }
}
